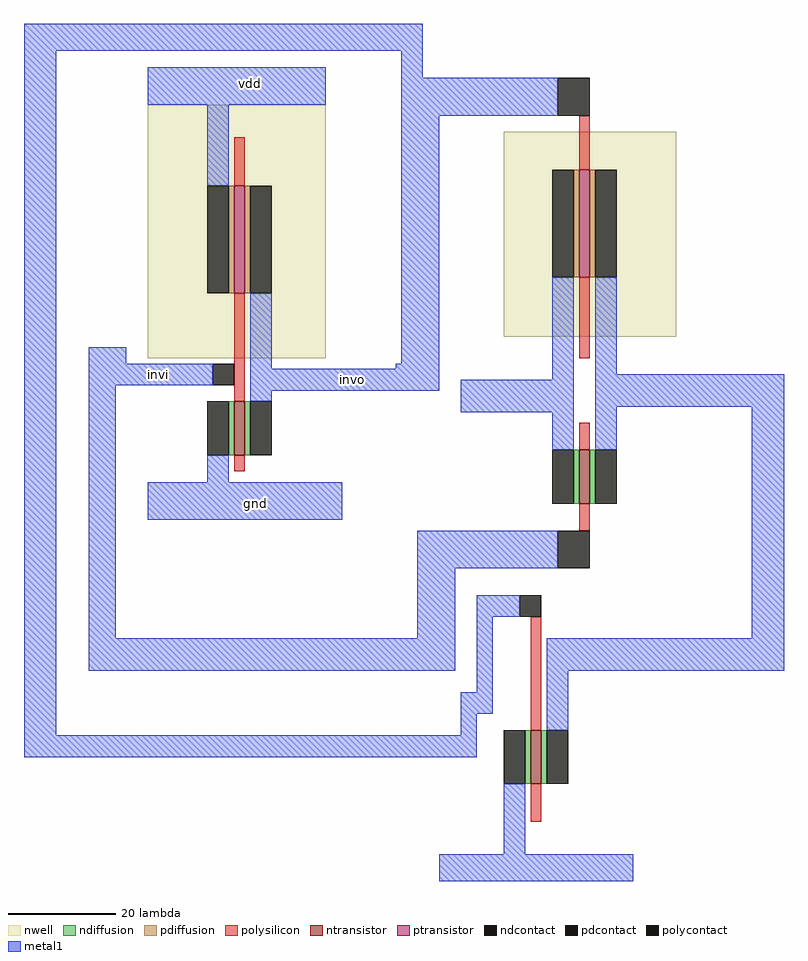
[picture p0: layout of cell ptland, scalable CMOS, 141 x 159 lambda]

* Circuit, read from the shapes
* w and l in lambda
.subckt ptland gnd invi invo vdd
M1 invo invi gnd VSUBS nfet w=10 l=2
M2 n1 invo n2 VSUBS nfet w=10 l=2
M3 n1 invi n3 VSUBS nfet w=10 l=2
M4 invo invi vdd n4 pfet w=20 l=2
M5 n1 invo n3 n5 pfet w=20 l=2
.ends

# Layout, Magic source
magic
tech scmos
<< nwell >>
rect 6 35 39 82
rect 72 39 104 77
<< ntransistor >>
rect 22 17 24 27
rect 86 8 88 18
rect 77 -44 79 -34
<< ptransistor >>
rect 22 47 24 67
rect 86 50 88 70
<< ndiffusion >>
rect 21 17 22 27
rect 24 17 25 27
rect 85 8 86 18
rect 88 8 89 18
rect 76 -44 77 -34
rect 79 -44 80 -34
<< pdiffusion >>
rect 21 47 22 67
rect 24 47 25 67
rect 85 50 86 70
rect 88 50 89 70
<< ndcontact >>
rect 17 17 21 27
rect 25 17 29 27
rect 81 8 85 18
rect 89 8 93 18
rect 72 -44 76 -34
rect 80 -44 84 -34
<< pdcontact >>
rect 17 47 21 67
rect 25 47 29 67
rect 81 50 85 70
rect 89 50 93 70
<< polysilicon >>
rect 22 67 24 76
rect 86 70 88 80
rect 22 27 24 47
rect 86 35 88 50
rect 86 18 88 23
rect 22 14 24 17
rect 86 3 88 8
rect 77 -34 79 -13
rect 77 -51 79 -44
<< polycontact >>
rect 82 80 88 87
rect 18 30 22 34
rect 82 -4 88 3
rect 75 -13 79 -9
<< metal1 >>
rect -17 92 57 97
rect -17 -35 -11 92
rect 6 82 39 89
rect 53 87 57 92
rect 17 67 21 82
rect 53 80 82 87
rect -5 34 2 37
rect -5 30 18 34
rect 25 33 29 47
rect 53 34 60 80
rect 52 33 60 34
rect -5 -17 0 30
rect 25 29 60 33
rect 81 31 85 50
rect 25 27 29 29
rect 64 25 85 31
rect 81 18 85 25
rect 17 12 21 17
rect 6 5 42 12
rect 89 32 93 50
rect 89 26 124 32
rect 89 18 93 26
rect 56 -4 82 3
rect 56 -17 63 -4
rect -5 -23 63 -17
rect 67 -13 75 -9
rect 67 -27 70 -13
rect 118 -17 124 26
rect 64 -31 70 -27
rect 80 -23 124 -17
rect 64 -35 67 -31
rect 80 -34 84 -23
rect -17 -39 67 -35
rect 72 -57 76 -44
rect 60 -62 96 -57
<< labels >>
rlabel metal1 44 31 44 31 1 invo
rlabel metal1 8 32 8 32 1 invi
rlabel metal1 25 86 25 86 5 vdd
rlabel metal1 26 8 26 8 1 gnd
<< end >>
